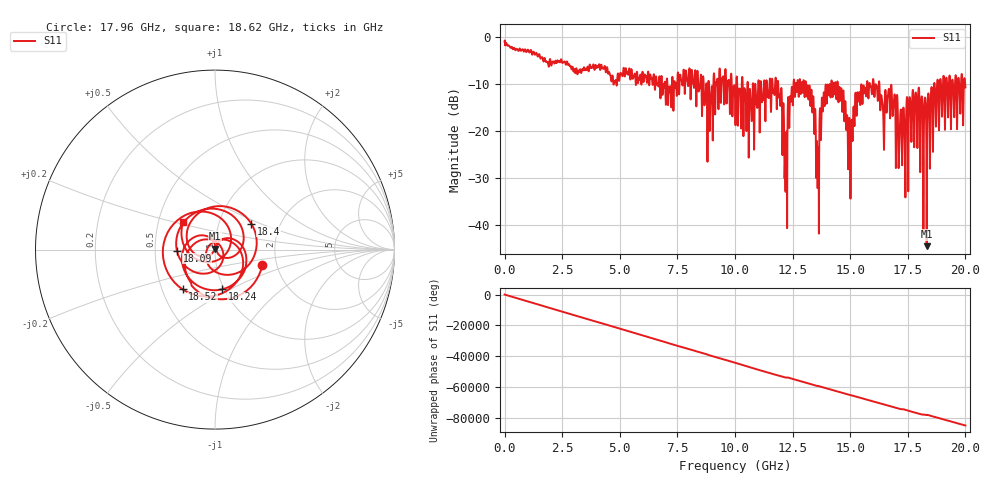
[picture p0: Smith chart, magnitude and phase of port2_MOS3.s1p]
! MS46122B
! 2250307/22442219
! 6/18/2025 1:23:44 PM
! C:\USERS\SPARKY\DOCUMENTS\VNA_DATA\JUNE18_2025\295K\PORT2_MOS3.S1P
! CHANNEL.1
! TR.MEASUREMENT
! RAW.DATA
# GHZ S RI R 50.0
! FREQ.GHZ  S11RE  S11IM
!; PortSelection: Port_1
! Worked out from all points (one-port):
!   10001 points, 1 MHz to 20 GHz, reference 50 ohm
!   lowest |S11| = -44.6 dB at 18.32 GHz (marker M1), VSWR 1.01, Z = 49.9 + j0.585 ohm
!   |S11| at or under -10 dB: 13.08 GHz to 14.18 GHz (1.096 GHz wide, 8.04 % of centre); 14.46 GHz to 15.72 GHz (1.264 GHz wide, 8.38 % of centre); 16.27 GHz to 18.64 GHz (2.376 GHz wide, 13.6 % of centre) (the widest 3 of 75)
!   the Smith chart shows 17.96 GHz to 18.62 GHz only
!   S11 on the Smith chart (normalised r, x): 17.96 GHz: 1.68, -0.31; 18.09 GHz: 0.65, -0.01; 18.24 GHz: 0.97, -0.45; 18.4 GHz: 1.43, +0.44; 18.52 GHz: 0.64, -0.31; 18.62 GHz: 0.67, +0.21
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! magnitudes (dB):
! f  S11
! 1 MHz  -1.0
! 2.501 GHz  -5.5
! 5.001 GHz  -8.2
! 7.501 GHz  -9.1
! 10 GHz  -12.4
! 11.83 GHz  -11.4
! 12.19 GHz  -33.0
! 12.5 GHz  -13.6
! 13.24 GHz  -10.4
! 13.58 GHz  -27.7
! 13.85 GHz  -11.8
! 14.11 GHz  -10.1
! 14.62 GHz  -11.2
! 15 GHz  -25.0
! 15.31 GHz  -12.4
! 15.92 GHz  -11.0
! 16.4 GHz  -14.1
! 16.85 GHz  -16.0
! 17.18 GHz  -16.6
! 17.5 GHz  -18.2
! 17.96 GHz  -11.2
! 18.09 GHz  -13.5
! 18.24 GHz  -13.0
! 18.32 GHz  -44.6
! 18.4 GHz  -12.1
! 18.52 GHz  -10.9
! 18.62 GHz  -12.6
! 20 GHz  -10.7
